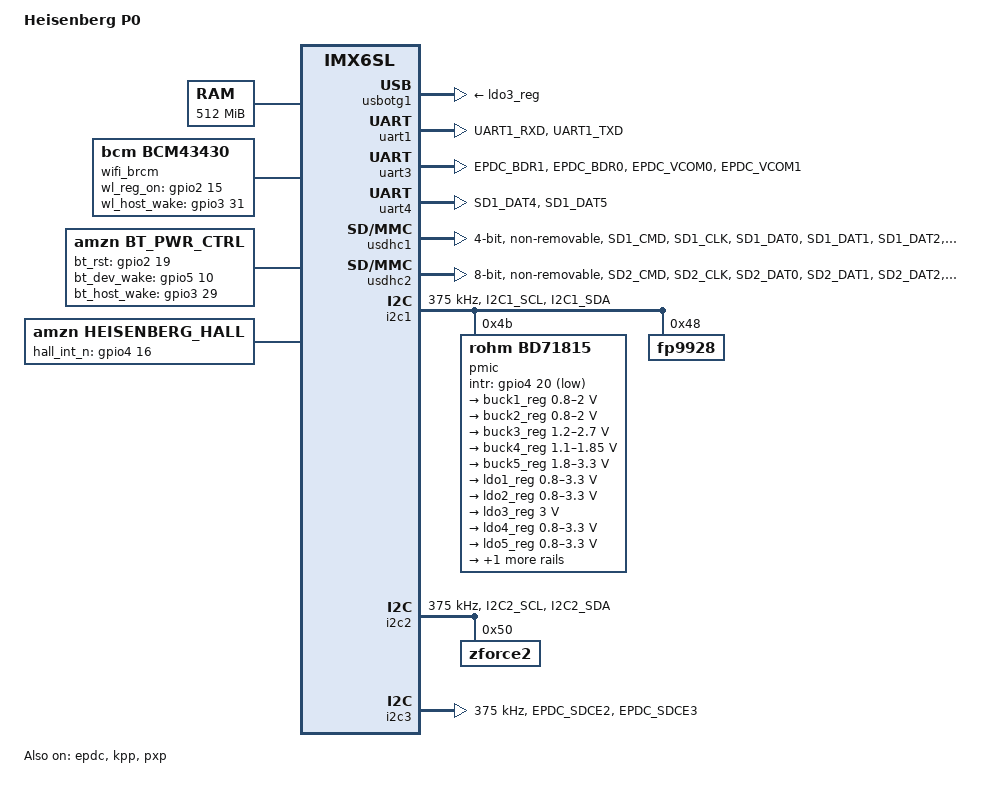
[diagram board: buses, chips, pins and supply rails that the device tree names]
/dts-v1/;

#include "imx6sl.dtsi"

/ {
	model = "Heisenberg P0";
	compatible = "amzn,heisenberg", "fsl,imx6sl";

	memory {
		reg = <0x80000000 0x20000000>;
	};

	wifi_brcm {
		compatible = "bcm,bcm43430";
		wl_reg_on = <&gpio2 15 0>; /* Power on/off GPIO */
		wl_host_wake = <&gpio3 31 0>; /* Host wake for OOB */
	};

	bt_pwr_ctrl {
		compatible = "amzn,bt_pwr_ctrl";
		bt_rst = <&gpio2 19 0>; /* Power on/off GPIO */
		bt_dev_wake = <&gpio5 10 0>; /*BT wake for OOB */
		bt_host_wake = <&gpio3 29 0>; /* Host wake for OOB */
	};

	heisenberg_hall {
		compatible = "amzn,heisenberg_hall";
		hall_int_n= <&gpio4 16 0>; /*hall detect GPIO */
		status = "okay";		
	};

	imx_ion {
		compatible = "fsl,mxc-ion";
		fsl,heap-id = <0>;
		fsl,heap-cacheable = <1>;
	};

	regulator-virtuals {
		compatible = "simple-bus";

		virt-buck1 {
			compatible = "regulator-virtual";
			virtual-supply = "buck1";
		};
		virt-buck2 {
			compatible = "regulator-virtual";
			virtual-supply = "buck2";
		};
		virt-buck3 {
			compatible = "regulator-virtual";
			virtual-supply = "buck3";
		};
		virt-buck4 {
			compatible = "regulator-virtual";
			virtual-supply = "buck4";
		};
		virt-buck5 {
			compatible = "regulator-virtual";
			virtual-supply = "buck5";
		};
		virt-ldo1 {
			compatible = "regulator-virtual";
			virtual-supply = "ldo1";
		};
		virt-ldo2 {
			compatible = "regulator-virtual";
			virtual-supply = "ldo2";
		};
		virt-ldo3 {
			compatible = "regulator-virtual";
			virtual-supply = "ldo3";
		};
		virt-ldo4 {
			compatible = "regulator-virtual";
			virtual-supply = "ldo4";
		};
		virt-ldo5 {
			compatible = "regulator-virtual";
			virtual-supply = "ldo5";
		};
		user-dvref {
			compatible = "userspace_consumer";
			uc-name = "dvref";
			suck-supply = "dvref";
		};
		user-lpsr {
			compatible = "userspace_consumer";
			uc-name = "lpsr";
			suck-supply = "lpsr";
		};
		virt-wled {
			compatible = "regulator-virtual";
			virtual-supply = "wled";
		};
	};
};

&usbotg1 {
	vbus-supply = <&ldo3_reg>;
	pinctrl-names = "default";
	pinctrl-0 = <&pinctrl_usbotg1_1>;
	disable-over-current;
	imx6-usb-charger-detection;
	status = "okay";
};



&epdc {
	pinctrl-names = "default";
	pinctrl-0 = <&pinctrl_epdc_0>;
	status = "okay";
};


&kpp {
        pinctrl-names = "default";
        pinctrl-0 = <&pinctrl_kpp_1>;
	status = "okay";
};


&uart2 {
	status = "disabled";
};


&uart1 {
	pinctrl-names = "default";
	pinctrl-0 = <&pinctrl_uart1_1>;
	status = "okay";
};

&uart3 {
	pinctrl-names = "default";
	pinctrl-0 = <&pinctrl_uart3_1>;
	fsl,uart-has-rtscts;
	status = "okay";
};

&uart4 {
	pinctrl-names = "default";
	pinctrl-0 = <&pinctrl_uart4_1>;
	status = "okay";
};

&usdhc1 { /*wifi*/
	pinctrl-names = "default", "state_100mhz", "state_200mhz";
	pinctrl-0 = <&pinctrl_usdhc1_1>;
	pinctrl-1 = <&pinctrl_usdhc1_1_100mhz>;
	pinctrl-2 = <&pinctrl_usdhc1_1_200mhz>;
	keep-power-in-suspend;
	non-removable;
	/*enable-sdio-wakeup;*/
	bus-width = <4>;
	fsl,delay-line;
	status = "okay";
};

&usdhc2 { /*emmc*/
	pinctrl-names = "default", "state_100mhz", "state_200mhz";
	pinctrl-0 = <&pinctrl_usdhc2_1>;
	pinctrl-1 = <&pinctrl_usdhc2_1_100mhz>;
	pinctrl-2 = <&pinctrl_usdhc2_1_200mhz>;
	non-removable;
	keep-power-in-suspend;
	/*enable-sdio-wakeup;*/
	bus-width = <8>;
	fsl,delay-line;
	fsl,sig-voltage-switch-disable;
	fsl,sdr104-support-override;
	fsl,ddr50-support-override;
	fsl,sdr50-support-override;
	status = "okay";
};
/*
&usdhc3 {
	pinctrl-names = "default", "state_100mhz", "state_200mhz";
	pinctrl-0 = <&pinctrl_usdhc3_1>;
	pinctrl-1 = <&pinctrl_usdhc3_1_100mhz>;
	pinctrl-2 = <&pinctrl_usdhc3_1_200mhz>;
	keep-power-in-suspend;
	enable-sdio-wakeup;
	bus-width = <4>;
	fsl,delay-line = <3>;
	status = "okay";
};
*/
&i2c1 {
	clock-frequency = <375000>;
	pinctrl-names = "default";
	pinctrl-0 = <&pinctrl_i2c1_1>;
	status = "okay";


	pmic: bd7181x@4b {
		reg = <0x4b>;
		compatible = "rohm,bd71815";

		gpio_intr = <&gpio4 20 1>;

		gpo {
			rohm,mode = <0x03>;	/* 0b0011_0000 all gpos with open drain output mode */
		};

		regulators {
			#address-cells = <1>;
			#size-cells = <0>;

			buck1_reg: regulator@0 {
				reg = <0>;
				regulator-compatible = "buck1";
				regulator-min-microvolt = <800000>;
				regulator-max-microvolt = <2000000>;
				regulator-boot-on;
				regulator-always-on;
				regulator-ramp-delay = <6250>;
			};

			buck2_reg: regulator@1 {
				reg = <1>;
				regulator-compatible = "buck2";
				regulator-min-microvolt = <800000>;
				regulator-max-microvolt = <2000000>;
				regulator-boot-on;
				regulator-always-on;
				regulator-ramp-delay = <6250>;
			};

			buck3_reg: regulator@2 {
				reg = <2>;
				regulator-compatible = "buck3";
				regulator-min-microvolt = <1200000>;
				regulator-max-microvolt = <2700000>;
				regulator-boot-on;
				regulator-always-on;
			};

			buck4_reg: regulator@3 {
				reg = <3>;
				regulator-compatible = "buck4";
				regulator-min-microvolt = <1100000>;
				regulator-max-microvolt = <1850000>;
				/* regulator-boot-on;*/
				regulator-always-on; 
			};

			buck5_reg: regulator@4 {
				reg = <4>;
				regulator-compatible = "buck5";
				regulator-min-microvolt = <1800000>;
				regulator-max-microvolt = <3300000>;
				/* regulator-boot-on;*/
				regulator-always-on;
			};

			ldo1_reg: regulator@5 {
				reg = <5>;
				regulator-compatible = "ldo1";
				regulator-min-microvolt = <800000>;
				regulator-max-microvolt = <3300000>;
				regulator-always-on;
			};

			ldo2_reg: regulator@6 {
				reg = <6>;
				regulator-compatible = "ldo2";
				regulator-min-microvolt = <800000>;
				regulator-max-microvolt = <3300000>;
				regulator-always-on; 
			};

			ldo3_reg: regulator@7 {
				reg = <7>;
				regulator-compatible = "ldo3";
				regulator-name = "ldo3";
				regulator-min-microvolt = <3000000>;
				regulator-max-microvolt = <3000000>;
				regulator-always-on; 
				/* regulator-boot-on; */
			};

			ldo4_reg: regulator@8 {
				reg = <8>;
				regulator-compatible = "ldo4";
				regulator-min-microvolt = <800000>;
				regulator-max-microvolt = <3300000>;
				/* regulator-boot-on; */
				/* regulator-always-on;*/
			};

			ldo5_reg: regulator@9 {
				reg = <9>;
				regulator-compatible = "ldo5";
				regulator-name = "ldo5";
				regulator-min-microvolt = <800000>;
				regulator-max-microvolt = <3300000>;
				/* regulator-boot-on; */
			};

			dvref_reg: regulator@10 {
				reg = <10>;
				regulator-compatible = "dvref";
				/* regulator-boot-on;*/
				regulator-always-on;
			};

			lpsr_reg: regulator@11 {
				reg = <11>;
				regulator-compatible = "lpsr";
				/* regulator-boot-on;
				regulator-always-on; */
			};

			wled_reg: regulator@12 {
				reg = <12>;
				regulator-compatible = "wled";
				regulator-min-microamp = <10>;
				regulator-max-microamp = <25000>;
				/* regulator-boot-on;
				regulator-always-on; */
			};
		};
	};
	
	fp9928@48 {
		compatible = "fp9928";
		reg = <0x48>;
	};

};

&cpu0 {
	arm-supply = <&buck2_reg>;
	soc-supply = <&buck1_reg>;
	pu-supply = <&pu_dummy>; /* use pu_dummy if VDDSOC share with VDDPU */
};

&i2c2 {
	clock-frequency = <375000>;
	pinctrl-names = "default";
	pinctrl-0 = <&pinctrl_i2c2_1>;
	status = "okay";

	zforce2@50 {
		compatible = "zforce2";
		reg = <0x50>;
	};

};

&i2c3 {
	clock-frequency = <375000>;
	pinctrl-names = "default";
	pinctrl-0 = <&pinctrl_i2c3_1>;
	status = "okay";

};

/*
 * pinmux
 */
&iomuxc {

	pinctrl-names = "default", "sleep";
	pinctrl-0 = <&pinctrl_hog>;
	pinctrl-1 = <&pinctrl_hog_sleep>;

	hog {
		pinctrl_hog: hoggrp {
			fsl,pins = <
				MX6SL_PAD_WDOG_B__WDOG1_B               0x4128b0
				MX6SL_PAD_FEC_TXD1__GPIO4_IO16  0x4100b0 /*Hall Sendor*/

				/*WIFI/BT*/
				MX6SL_PAD_SD1_DAT6__GPIO5_IO07		0x4100b0 /*WIFI_GPIO_0*/ /*1<<22|1<<16|0<<14|0<<13|1<<12|0<<11|2<<6|6<<3|0 	0x020E0554*/
				MX6SL_PAD_SD1_DAT7__GPIO5_IO10		0x4100b0 /*BT Device Wake*/ /*1<<22|1<<16|0<<14|0<<13|1<<12|0<<11|2<<6|6<<3|0 	/*0x020E0558*/
				MX6SL_PAD_KEY_ROW2__GPIO3_IO29		0x4130b0 /*BT HOST WAKE*/
				MX6SL_PAD_KEY_ROW3__GPIO3_IO31		0x4130b0 /*WLAN_on*/
				MX6SL_PAD_LCD_CLK__GPIO2_IO15		0x4170b0 /*0x4170b0 working */ /*WIFI Reg On*/
				MX6SL_PAD_LCD_RESET__GPIO2_IO19		0x4000b0 /*not tested yet */ /*BT Reg On*/

				/*BT PCM not test yet. need to set  IOMUXC_AUD4_INPUT_DB_AMX_SELECT_INPUT for mode ALT4*/
				MX6SL_PAD_LCD_DAT3__AUD4_RXD		0x4100b0 /*not tested yet */ /*BT PCM*/
				MX6SL_PAD_LCD_DAT4__AUD4_TXC		0x4100b0 /*not tested yet */ /*BT PCM*/
				MX6SL_PAD_LCD_DAT5__AUD4_TXFS		0x4100b0 /*not tested yet */ /*BT PCM*/
				MX6SL_PAD_LCD_DAT6__AUD4_TXD		0x4100b0 /*not tested yet */ /*BT PCM*/


				MX6SL_PAD_KEY_ROW4__GPIO4_IO01	0x100b0 /*MUX_INT_N*/
				MX6SL_PAD_KEY_ROW0__GPIO3_IO25		0x100b0  /*EPD PMIC 0x4110b0  */
				MX6SL_PAD_KEY_ROW1__GPIO3_IO27		0x100b0  /*EPD PMIC 0x4110b0 */
				MX6SL_PAD_KEY_COL4__GPIO4_IO00		0x4100b0  /*PMIC INT line*/

				MX6SL_PAD_FEC_MDIO__GPIO4_IO20		0x4100b0
				MX6SL_PAD_FEC_RXD0__GPIO4_IO17		0x4100b0
				MX6SL_PAD_EPDC_PWRCOM__GPIO2_IO11	0x4130b0

/*The following are NC pins, all set to low power-GPIO-pull down, 0x4130b0, should have been set by u-boot already*/
				MX6SL_PAD_EPDC_D8__GPIO1_IO15  	  	  0x4130b0
				MX6SL_PAD_EPDC_D9__GPIO1_IO16  	  	  0x4130b0
				MX6SL_PAD_EPDC_D10__GPIO1_IO17  	  0x4130b0
				MX6SL_PAD_EPDC_D11__GPIO1_IO18  	  0x4130b0
				MX6SL_PAD_EPDC_D12__GPIO1_IO19  	  0x4130b0
				MX6SL_PAD_EPDC_D13__GPIO1_IO20  	  0x4130b0
				MX6SL_PAD_EPDC_D14__GPIO1_IO21  	  0x4130b0
				MX6SL_PAD_EPDC_D15__GPIO1_IO22  	  0x4130b0
				MX6SL_PAD_EPDC_SDSHR__GPIO1_IO26  	  0x4130b0
				MX6SL_PAD_EPDC_SDCE1__GPIO1_IO28  	  0x4130b0
				MX6SL_PAD_EPDC_GDRL__GPIO2_IO01  	  0x4130b0
				MX6SL_PAD_EPDC_PWRCTRL0__GPIO2_IO07  	  0x4130b0
				MX6SL_PAD_EPDC_PWRCTRL1__GPIO2_IO08  	  0x4130b0
				MX6SL_PAD_EPDC_PWRCTRL2__GPIO2_IO09  	  0x4130b0
				MX6SL_PAD_EPDC_PWRCTRL3__GPIO2_IO10  	  0x4130b0
				MX6SL_PAD_EPDC_PWRCOM__GPIO2_IO11  	  0x4130b0
				MX6SL_PAD_EPDC_PWRINT__GPIO2_IO12  	  0x4130b0
				MX6SL_PAD_EPDC_PWRSTAT__GPIO2_IO13  	  0x4130b0
				MX6SL_PAD_EPDC_PWRWAKEUP__GPIO2_IO14  	  0x4130b0
				MX6SL_PAD_LCD_ENABLE__GPIO2_IO16  	  0x4130b0
				MX6SL_PAD_LCD_HSYNC__GPIO2_IO17  	  0x4130b0
				MX6SL_PAD_LCD_VSYNC__GPIO2_IO18  	  0x4130b0
				MX6SL_PAD_LCD_DAT0__GPIO2_IO20  	  0x4130b0
				MX6SL_PAD_LCD_DAT1__GPIO2_IO21 		  0x4130b0
				MX6SL_PAD_LCD_DAT2__GPIO2_IO22 		  0x4130b0
				MX6SL_PAD_LCD_DAT7__GPIO2_IO27  	  0x4130b0
				MX6SL_PAD_LCD_DAT8__GPIO2_IO28  	  0x4130b0
				MX6SL_PAD_LCD_DAT9__GPIO2_IO29  	  0x4130b0
				MX6SL_PAD_LCD_DAT10__GPIO2_IO30  	  0x4130b0
				MX6SL_PAD_LCD_DAT11__GPIO2_IO31  	  0x4130b0
				MX6SL_PAD_LCD_DAT12__GPIO3_IO00  	  0x4130b0
				MX6SL_PAD_LCD_DAT13__GPIO3_IO01  	  0x4130b0
				MX6SL_PAD_LCD_DAT14__GPIO3_IO02  	  0x4130b0
				MX6SL_PAD_LCD_DAT15__GPIO3_IO03  	  0x4130b0
				MX6SL_PAD_LCD_DAT16__GPIO3_IO04  	  0x4130b0
				MX6SL_PAD_LCD_DAT17__GPIO3_IO05  	  0x4130b0
				MX6SL_PAD_LCD_DAT18__GPIO3_IO06  	  0x4130b0
				MX6SL_PAD_LCD_DAT19__GPIO3_IO07  	  0x4130b0
				MX6SL_PAD_LCD_DAT20__GPIO3_IO08  	  0x4130b0
				MX6SL_PAD_LCD_DAT21__GPIO3_IO09  	  0x4130b0
				MX6SL_PAD_LCD_DAT22__GPIO3_IO10  	  0x4130b0
				MX6SL_PAD_LCD_DAT23__GPIO3_IO11  	  0x4130b0
				MX6SL_PAD_AUD_RXFS__GPIO1_IO00  	  0x4130b0
				MX6SL_PAD_AUD_RXC__GPIO1_IO01  	  	  0x4130b0
				MX6SL_PAD_AUD_RXD__GPIO1_IO02  	  	  0x4130b0
				MX6SL_PAD_AUD_TXFS__GPIO1_IO04  	  0x4130b0
				MX6SL_PAD_AUD_TXD__GPIO1_IO05  	  	  0x4130b0
				MX6SL_PAD_AUD_MCLK__GPIO1_IO06  	  0x4130b0
				MX6SL_PAD_ECSPI2_SCLK__GPIO4_IO12  	  0x4130b0
				MX6SL_PAD_ECSPI2_MOSI__GPIO4_IO13  	  0x4130b0
				MX6SL_PAD_ECSPI2_MISO__GPIO4_IO14  	  0x4130b0
				MX6SL_PAD_ECSPI2_SS0__GPIO4_IO15  	  0x4130b0
				MX6SL_PAD_FEC_TX_CLK__GPIO4_IO21  	  0x4130b0
				MX6SL_PAD_FEC_RX_ER__GPIO4_IO19  	  0x4130b0
				MX6SL_PAD_FEC_CRS_DV__GPIO4_IO25  	  0x4130b0
				MX6SL_PAD_FEC_RXD1__GPIO4_IO18  	  0x4130b0
				MX6SL_PAD_FEC_TXD0__GPIO4_IO24  	  0x4130b0
				MX6SL_PAD_FEC_MDC__GPIO4_IO23  	  	  0x4130b0
				MX6SL_PAD_FEC_TX_EN__GPIO4_IO22  	  0x4130b0
				MX6SL_PAD_FEC_REF_CLK__GPIO4_IO26  	  0x4130b0
				MX6SL_PAD_SD3_CLK__GPIO5_IO18  	  	  0x4130b0
				MX6SL_PAD_SD3_CMD__GPIO5_IO21  	  	  0x4130b0
				MX6SL_PAD_SD3_DAT0__GPIO5_IO19  	  0x4130b0
				MX6SL_PAD_SD3_DAT1__GPIO5_IO20  	  0x4130b0
				MX6SL_PAD_SD3_DAT2__GPIO5_IO16  	  0x4130b0
				MX6SL_PAD_SD3_DAT3__GPIO5_IO17  	  0x4130b0
				MX6SL_PAD_KEY_ROW7__GPIO4_IO07  	  0x4130b0
				MX6SL_PAD_KEY_COL1__GPIO3_IO26  	  0x4130b0
				MX6SL_PAD_KEY_COL2__GPIO3_IO28  	  0x4130b0
				MX6SL_PAD_KEY_COL3__GPIO3_IO30  	  0x4130b0
				MX6SL_PAD_KEY_COL5__GPIO4_IO02  	  0x4130b0
				MX6SL_PAD_KEY_COL6__GPIO4_IO04  	  0x4130b0
				MX6SL_PAD_KEY_COL7__GPIO4_IO06  	  0x4130b0
				MX6SL_PAD_PWM1__GPIO3_IO23  	  	  0x4130b0
				MX6SL_PAD_HSIC_DAT__GPIO3_IO19  	  0x4130b0
				MX6SL_PAD_HSIC_STROBE__GPIO3_IO20  	  0x4130b0
				MX6SL_PAD_REF_CLK_24M__GPIO3_IO21  	  0x4130b0
				MX6SL_PAD_REF_CLK_32K__GPIO3_IO22  	  0x4130b0
				
				MX6SL_PAD_SD1_DAT4__UART4_RX_DATA	0x1b0b1
				MX6SL_PAD_SD1_DAT5__UART4_TX_DATA	0x1b0b1
			/*Done for NC pins*/

			>;
		};

		pinctrl_hog_sleep: hoggrp_sleep {
			fsl,pins = <
				MX6SL_PAD_WDOG_B__WDOG1_B               0x4128b0
				MX6SL_PAD_FEC_MDIO__GPIO4_IO20          0x4100b0
				MX6SL_PAD_FEC_TXD1__GPIO4_IO16  0x4100b0 /*Hall Sendor*/
				
				/*uart4*/
				MX6SL_PAD_SD1_DAT5__GPIO5_IO09        0x4130b0
				MX6SL_PAD_SD1_DAT4__GPIO5_IO12        0x4130b0

			>;
		};

	};

	uart1 {
		pinctrl_uart1_1: uart1grp-1 {
			fsl,pins = <
				MX6SL_PAD_UART1_RXD__UART1_RX_DATA 0x41b0b1
				MX6SL_PAD_UART1_TXD__UART1_TX_DATA 0x41b0b1
			>;
		};
	};


	uart3 {
		pinctrl_uart3_1: uart3grp-1 {
			fsl,pins = <
				/* pull up */
				MX6SL_PAD_EPDC_BDR1__UART3_CTS_B	0x41b0b1
				MX6SL_PAD_EPDC_BDR0__UART3_RTS_B	0x41b0b1
				MX6SL_PAD_EPDC_VCOM0__UART3_RX_DATA	0x41b0b1
				/* pull down */
				MX6SL_PAD_EPDC_VCOM1__UART3_TX_DATA	0x4130b1
			>;
		};
	};


	uart4 {
		pinctrl_uart4_1: uart4grp-1 {
			fsl,pins = <
				MX6SL_PAD_SD1_DAT4__UART4_RX_DATA	0x1b0b1
				MX6SL_PAD_SD1_DAT5__UART4_TX_DATA	0x1b0b1
			>;
		};
	};


       epdc {
                pinctrl_epdc_0: epdcgrp-0 {
                        fsl,pins = <
                                MX6SL_PAD_EPDC_D0__EPDC_DATA00          0x4110a1 /*1<<22|1<<16|0<<14|0<<13|1<<12|0<<11|2<<6|4<<3|1       0000 0001 0001 0000 1010 0001 */
                                MX6SL_PAD_EPDC_D1__EPDC_DATA01          0x4110a1 /*1<<22|1<<16|0<<14|0<<13|1<<12|0<<11|2<<6|4<<3|1       0000 0001 0001 0000 1010 0001 */
                                MX6SL_PAD_EPDC_D2__EPDC_DATA02          0x4110a1 /*1<<22|1<<16|0<<14|0<<13|1<<12|0<<11|2<<6|4<<3|1       0000 0001 0001 0000 1010 0001 */
                                MX6SL_PAD_EPDC_D3__EPDC_DATA03          0x4110a1 /*1<<22|1<<16|0<<14|0<<13|1<<12|0<<11|2<<6|4<<3|1       0000 0001 0001 0000 1010 0001 */
                                MX6SL_PAD_EPDC_D4__EPDC_DATA04          0x4110a1 /*1<<22|1<<16|0<<14|0<<13|1<<12|0<<11|2<<6|4<<3|1       0000 0001 0001 0000 1010 0001 */
                                MX6SL_PAD_EPDC_D5__EPDC_DATA05          0x4110a1 /*1<<22|1<<16|0<<14|0<<13|1<<12|0<<11|2<<6|4<<3|1       0000 0001 0001 0000 1010 0001 */
                                MX6SL_PAD_EPDC_D6__EPDC_DATA06          0x4110a1 /*1<<22|1<<16|0<<14|0<<13|1<<12|0<<11|2<<6|4<<3|1       0000 0001 0001 0000 1010 0001 */
                                MX6SL_PAD_EPDC_D7__EPDC_DATA07          0x4110a1 /*1<<22|1<<16|0<<14|0<<13|1<<12|0<<11|2<<6|4<<3|1       0000 0001 0001 0000 1010 0001 */
                                MX6SL_PAD_EPDC_GDCLK__EPDC_GDCLK        0x4110a0 /*1<<22|1<<16|0<<14|0<<13|1<<12|0<<11|2<<6|4<<3|0       0000 0001 0001 0000 1010 0000 */
                                MX6SL_PAD_EPDC_GDSP__EPDC_GDSP          0x4110a0 /*1<<22|1<<16|0<<14|0<<13|1<<12|0<<11|2<<6|4<<3|0       0000 0001 0001 0000 1010 0000 */
                                MX6SL_PAD_EPDC_GDOE__EPDC_GDOE          0x4110a0 /*1<<22|1<<16|0<<14|0<<13|1<<12|0<<11|2<<6|4<<3|0       0000 0001 0001 0000 1010 0000 */
                                MX6SL_PAD_EPDC_SDCLK__EPDC_SDCLK_P      0x4110a9 /*1<<22|1<<16|0<<14|0<<13|1<<12|0<<11|2<<6|5<<3|1       0000 0001 0001 0000 1010 1001 */
                                MX6SL_PAD_EPDC_SDOE__EPDC_SDOE          0x4110a9 /*1<<22|1<<16|0<<14|0<<13|1<<12|0<<11|2<<6|5<<3|1       0000 0001 0001 0000 1010 1001 */
                                MX6SL_PAD_EPDC_SDLE__EPDC_SDLE          0x4110a1 /*1<<22|1<<16|0<<14|0<<13|1<<12|0<<11|2<<6|4<<3|1       0000 0001 0001 0000 1010 0001 */
                                MX6SL_PAD_EPDC_SDCE0__EPDC_SDCE0        0x4110a0 /*1<<22|1<<16|0<<14|0<<13|1<<12|0<<11|2<<6|4<<3|0       0000 0001 0001 0000 1010 0000 */
                        >;
                };
        };


	kpp {
		pinctrl_kpp_1: kpp_grp_1 {
			fsl,pins = <
				MX6SL_PAD_KEY_ROW5__GPIO4_IO03      0x100b0
				MX6SL_PAD_KEY_ROW6__GPIO4_IO05      0x108b0
				MX6SL_PAD_KEY_COL0__GPIO3_IO24      0x100b0
			>;
		};

	};

	usdhc1 {
		pinctrl_usdhc1_1: usdhc1grp-1 {
			fsl,pins = <
				MX6SL_PAD_SD1_CMD__SD1_CMD    0x407059
				MX6SL_PAD_SD1_CLK__SD1_CLK    0x4000D9 /*0x19*/ /*0x41f0b1 1<<22|1<<16|3<<14|1<<13|1<<12|0<<11|2<<6|6<<3|1 	0100 0001 1111 0000 1011 0001 --*/
				MX6SL_PAD_SD1_DAT0__SD1_DATA0 0x407059
				MX6SL_PAD_SD1_DAT1__SD1_DATA1 0x407059
				MX6SL_PAD_SD1_DAT2__SD1_DATA2 0x407059
				MX6SL_PAD_SD1_DAT3__SD1_DATA3 0x407059
			>;
		};

		pinctrl_usdhc1_1_100mhz: usdhc1grp-1-100mhz {
			fsl,pins = <
				MX6SL_PAD_SD1_CMD__SD1_CMD    0x4070a9
				MX6SL_PAD_SD1_CLK__SD1_CLK    0x4000f9
				MX6SL_PAD_SD1_DAT0__SD1_DATA0 0x4070a9
				MX6SL_PAD_SD1_DAT1__SD1_DATA1 0x4070a9
				MX6SL_PAD_SD1_DAT2__SD1_DATA2 0x4070a9
				MX6SL_PAD_SD1_DAT3__SD1_DATA3 0x4070a9
			>;
		};

		pinctrl_usdhc1_1_200mhz: usdhc1grp-1-200mhz {
			fsl,pins = <
				MX6SL_PAD_SD1_CMD__SD1_CMD    0x4070e9
				MX6SL_PAD_SD1_CLK__SD1_CLK    0x4000f9
				MX6SL_PAD_SD1_DAT0__SD1_DATA0 0x4070e9
				MX6SL_PAD_SD1_DAT1__SD1_DATA1 0x4070e9
				MX6SL_PAD_SD1_DAT2__SD1_DATA2 0x4070e9
				MX6SL_PAD_SD1_DAT3__SD1_DATA3 0x4070e9
			>;
		};

	};


	usdhc2 {
		pinctrl_usdhc2_1: usdhc2grp-1 {
			fsl,pins = <
				MX6SL_PAD_SD2_CMD__SD2_CMD    0x407059 
				MX6SL_PAD_SD2_CLK__SD2_CLK    0x400059
				MX6SL_PAD_SD2_DAT0__SD2_DATA0 0x407059
				MX6SL_PAD_SD2_DAT1__SD2_DATA1 0x407059
				MX6SL_PAD_SD2_DAT2__SD2_DATA2 0x407059
				MX6SL_PAD_SD2_DAT3__SD2_DATA3 0x407059
				MX6SL_PAD_SD2_DAT4__SD2_DATA4 0x407059
				MX6SL_PAD_SD2_DAT5__SD2_DATA5 0x407059
				MX6SL_PAD_SD2_DAT6__SD2_DATA6 0x407059
				MX6SL_PAD_SD2_DAT7__SD2_DATA7 0x407059
				MX6SL_PAD_SD2_RST__SD2_RESET  0x407059
			>;
		};

		pinctrl_usdhc2_1_100mhz: usdhc2grp-1-100mhz {
			fsl,pins = <
				MX6SL_PAD_SD2_CMD__SD2_CMD    0x4070b9
				MX6SL_PAD_SD2_CLK__SD2_CLK    0x4000b9
				MX6SL_PAD_SD2_DAT0__SD2_DATA0 0x4070b9
				MX6SL_PAD_SD2_DAT1__SD2_DATA1 0x4070b9
				MX6SL_PAD_SD2_DAT2__SD2_DATA2 0x4070b9
				MX6SL_PAD_SD2_DAT3__SD2_DATA3 0x4070b9
				MX6SL_PAD_SD2_DAT4__SD2_DATA4 0x4070b9
				MX6SL_PAD_SD2_DAT5__SD2_DATA5 0x4070b9
				MX6SL_PAD_SD2_DAT6__SD2_DATA6 0x4070b9
				MX6SL_PAD_SD2_DAT7__SD2_DATA7 0x4070b9
				MX6SL_PAD_SD2_RST__SD2_RESET  0x4070b9
			>;
		};

		pinctrl_usdhc2_1_200mhz: usdhc2grp-1-200mhz {
			fsl,pins = <
				MX6SL_PAD_SD2_CMD__SD2_CMD    0x4070f9
				MX6SL_PAD_SD2_CLK__SD2_CLK    0x4000f9
				MX6SL_PAD_SD2_DAT0__SD2_DATA0 0x4070f9
				MX6SL_PAD_SD2_DAT1__SD2_DATA1 0x4070f9
				MX6SL_PAD_SD2_DAT2__SD2_DATA2 0x4070f9
				MX6SL_PAD_SD2_DAT3__SD2_DATA3 0x4070f9
				MX6SL_PAD_SD2_DAT4__SD2_DATA4 0x4070f9
				MX6SL_PAD_SD2_DAT5__SD2_DATA5 0x4070f9
				MX6SL_PAD_SD2_DAT6__SD2_DATA6 0x4070f9
				MX6SL_PAD_SD2_DAT7__SD2_DATA7 0x4070f9
				MX6SL_PAD_SD2_RST__SD2_RESET  0x4070f9
			>;
		};
	};

	i2c1 {
		pinctrl_i2c1_1: i2c1grp-1 {
			fsl,pins = <
				MX6SL_PAD_I2C1_SCL__I2C1_SCL		0x404108b1
				MX6SL_PAD_I2C1_SDA__I2C1_SDA		0x404108b1
			>;
		};
	};

	i2c2 {
		pinctrl_i2c2_1: i2c2grp-1 {
			fsl,pins = <
				MX6SL_PAD_I2C2_SCL__I2C2_SCL	0x400108a8	/*changed from 0x404108a8, to high power*/ /*0<<22|1<<16|0<<14|0<<13|0<<12|1<<11|2<<6|6<<3|0*/
				MX6SL_PAD_I2C2_SDA__I2C2_SDA	0x400108a8	/*changed from 0x404108a8, to high power*/
			>;
		};
	};

	i2c3 {
		pinctrl_i2c3_1: i2c3grp-1 {
			fsl,pins = <
				MX6SL_PAD_EPDC_SDCE2__I2C3_SCL		0x400108a8
				MX6SL_PAD_EPDC_SDCE3__I2C3_SDA		0x400108a8
			>;
		};
	};

};

&pxp {
	status = "okay";
};


